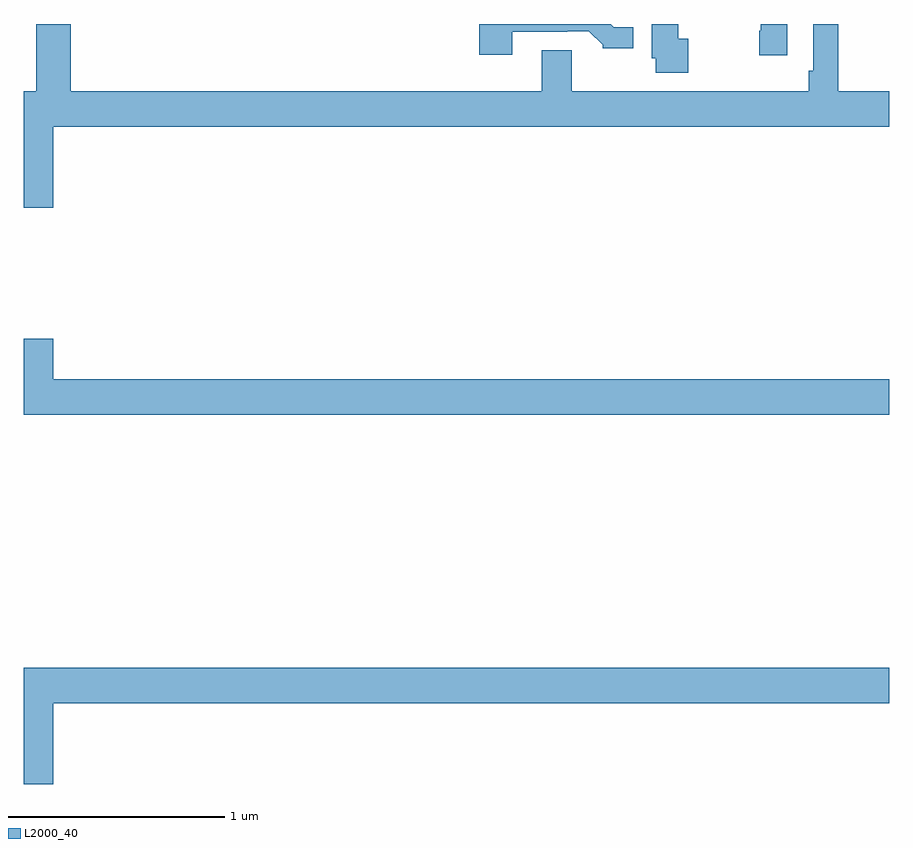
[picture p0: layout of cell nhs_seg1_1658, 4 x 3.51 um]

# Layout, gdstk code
import gdstk
lib = gdstk.Library(unit=1e-6, precision=1e-09)
def P(c, l, *ps):  # polygons
    for p in ps: c.add(gdstk.Polygon(p, *l))
L2000_40 = (2000, 40)

nhs_seg1_1658 = lib.new_cell('nhs_seg1_1658')
P(nhs_seg1_1658, L2000_40, [(201.136,559.724),(205,559.724),(205,559.888),(204.764,559.888),(204.764,560.199),(204.648,560.199),(204.648,559.984),(204.628,559.984),(204.628,559.888),(203.533,559.888),(203.533,560.078),(203.393,560.078),(203.393,559.888),(201.218,559.888),(201.218,560.199),(201.058,560.199),(201.058,559.888),(201,559.888),(201,559.35),(201.136,559.35)],
  [(204.072,560.13),(204.025,560.13),(204.025,560.199),(203.903,560.199),(203.903,560.04),(203.92,560.04),(203.92,559.974),(204.072,559.974)],
  [(203.257,560.163),(203.513,560.163),(203.513,560.166),(203.612,560.166),(203.676,560.102),(203.676,560.087),(203.818,560.087),(203.818,560.184),(203.727,560.184),(203.712,560.199),(203.105,560.199),(203.105,560.058),(203.257,560.058)],
  [(204.529,560.199),(204.407,560.199),(204.407,560.167),(204.4,560.167),(204.4,560.055),(204.529,560.055)],
  [(205,558.556),(201.136,558.556),(201.136,558.745),(201,558.745),(201,558.392),(205,558.392)],
  [(201.136,557.06),(205,557.06),(205,557.224),(201,557.224),(201,556.686),(201.136,556.686)])

lib.write_gds('nhs_seg1_1658.gds')
